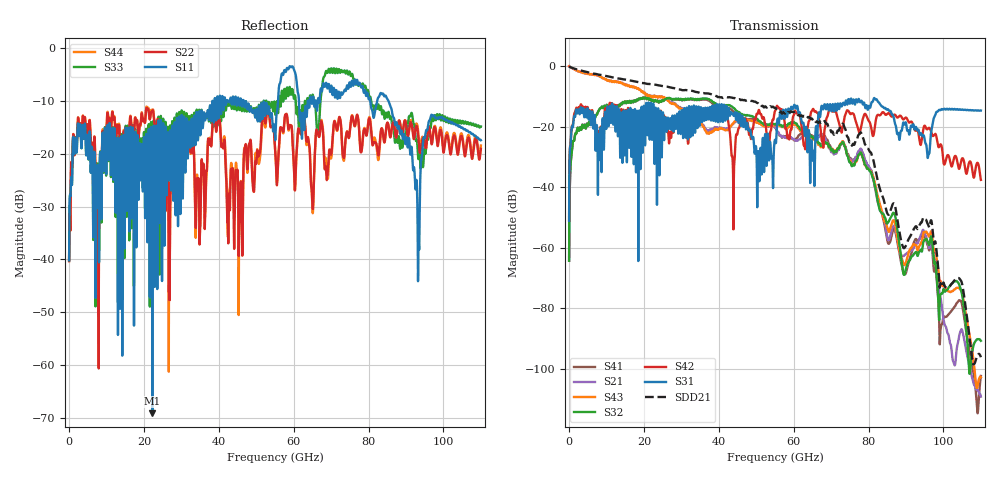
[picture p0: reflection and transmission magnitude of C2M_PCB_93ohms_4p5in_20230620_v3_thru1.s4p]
! Info: Touchstone file created by Circ.  Input file=C2M_PCB_93ohms_4p5in_20230620_v3.circ
# Hz S RI R 50
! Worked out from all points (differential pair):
!   11000 points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, 10 MHz to 110 GHz, reference 50 ohm
!   strongest paths, dB at 10 MHz, 27.51 GHz, 55.01 GHz, 82.51 GHz, 110 GHz:
!     S31: -51.1, -17.3, -24.4, -11.9, -14.7
!     S42: -50.9, -20.4, -14.9, -16.1, -37.6
!     S32: -64.3, -11.0, -19.2, -45.0, -90.7
!     S43: -0.1, -12.5, -19.5, -43.2, -102.7
!     S21: -0.1, -12.2, -20.2, -45.2, -109.1
!     S41: -64.3, -11.1, -20.3, -44.1, -102.3
!   taken as a pair (ports 3,1 in; 4,2 out), SDD21 dB: -0.1, -7.2, -13.8, -38.3, -96.1
!   lowest |S11| = -69.2 dB at 22.23 GHz (marker M1), VSWR 1.00, Z = 50 + j0.0277 ohm
!   |S11| at or under -10 dB: start of sweep to 38.3 GHz; 46.63 GHz to 55.81 GHz (9.175 GHz wide, 17.9 % of centre); 85.34 GHz to end of sweep (the widest 3 of 22)
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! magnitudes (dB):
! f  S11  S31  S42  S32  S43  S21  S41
! 10 MHz  -40.2  -51.1  -50.9  -64.3  -0.1  -0.1  -64.3
! 2.07 GHz  -19.3  -14.8  -13.9  -21.6  -1.5  -1.5  -21.6
! 22.23 GHz  -69.2  -21.2  -18.5  -11.3  -10.1  -10.0  -11.3
! 50.54 GHz  -12.6  -28.1  -15.0  -17.9  -18.8  -18.5  -18.5
! 77.98 GHz  -7.4  -11.6  -20.3  -28.7  -28.8  -27.4  -27.5
! 89.48 GHz  -16.2  -19.1  -17.5  -68.9  -65.7  -62.6  -68.7
! 110 GHz  -17.4  -14.7  -37.6  -90.7  -102.7  -109.1  -102.3
